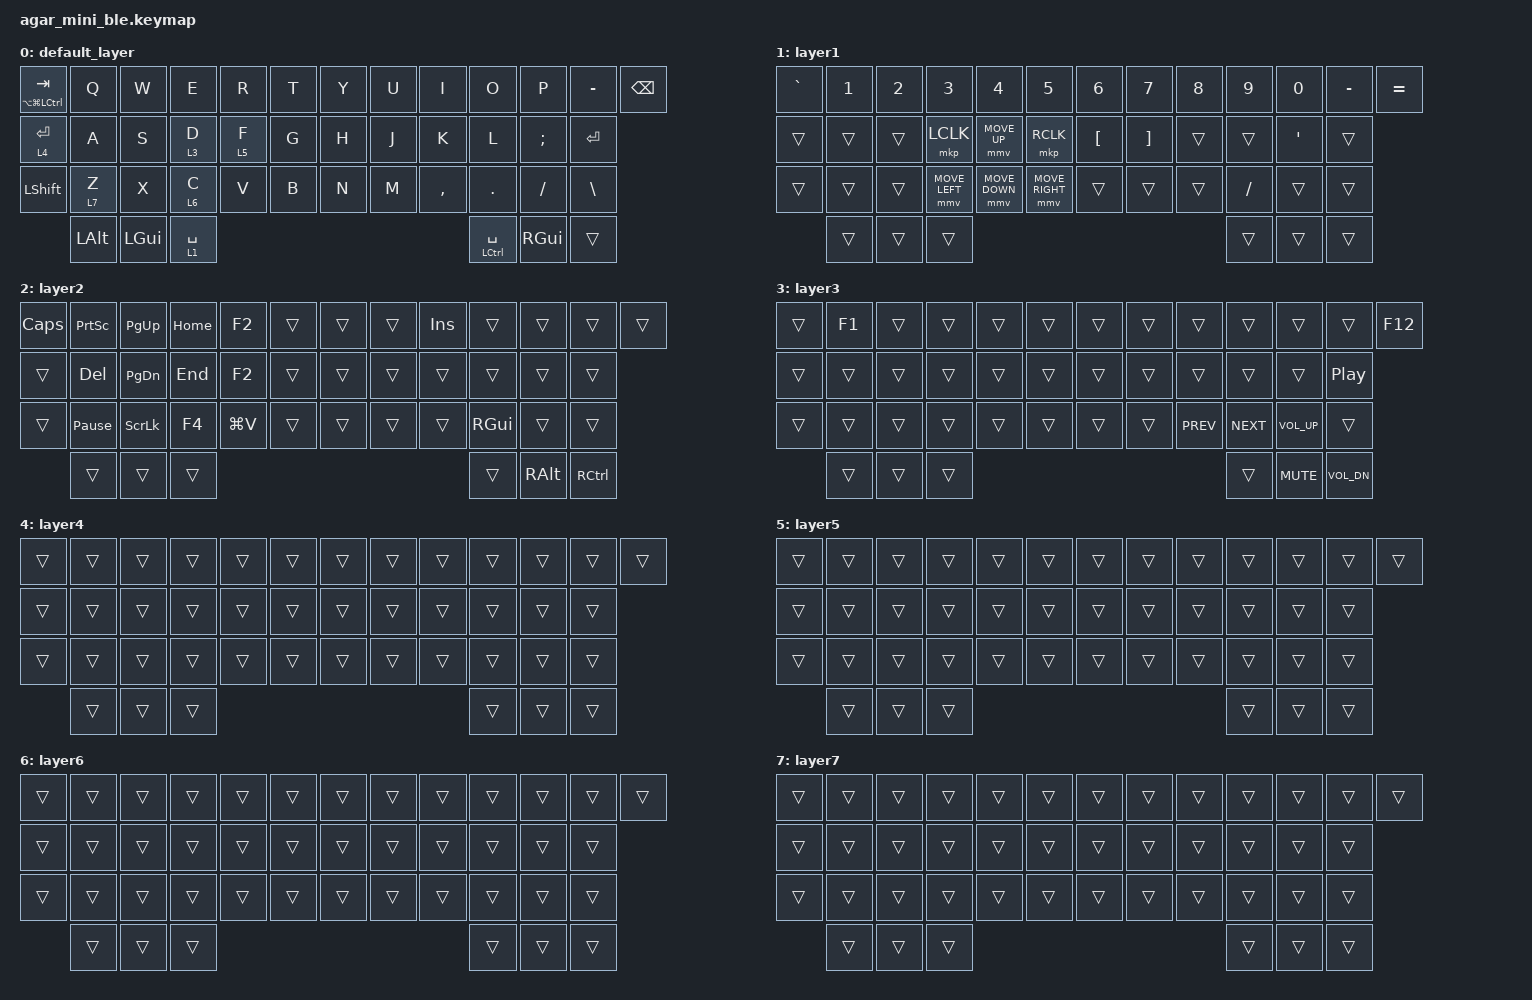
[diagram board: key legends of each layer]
/*
 * Copyright (c) 2021 The ZMK Contributors
 *
 * SPDX-License-Identifier: MIT
 */

#include "./boards/shields/klink_kbd/common.keymap"
#include <behaviors.dtsi>
#include <dt-bindings/zmk/keys.h>
#include <dt-bindings/zmk/pointing.h>

/ {
    keymap {
        compatible = "zmk,keymap";

        // ponytail: Base transcribed from user's live ZMK Studio layout (video backup 2026-06-29).
        // Only this layer is verified-from-video; layers 1-7 below are still the upstream defaults.
        default_layer {
            bindings = <
&mt LA(LG(LCTRL)) TAB  &kp Q    &kp W  &kp E    &kp R    &kp T  &kp Y  &kp U  &kp I      &kp O    &kp P             &kp MINUS  &kp BSPC
&lt 4 RET              &kp A    &kp S  &lt 3 D  &lt 5 F  &kp G  &kp H  &kp J  &kp K      &kp L    &kp SEMI          &kp RET
&kp LSHFT              &lt 7 Z  &kp X  &lt 6 C  &kp V    &kp B  &kp N  &kp M  &kp COMMA  &kp DOT  &kp SLASH         &kp BACKSLASH
                       &kp LALT  &kp LGUI       &lt 1 SPACE     &mt LCTRL SPACE                  &kp RGUI          &trans
            >;
        };

        layer1 {
            bindings = <
&kp GRAVE  &kp N1  &kp N2  &kp N3          &kp N4          &kp N5           &kp N6            &kp N7             &kp N8  &kp N9     &kp N0            &kp MINUS  &kp EQUAL
&trans     &trans  &trans  &mkp LCLK       &mmv MOVE_UP    &mkp RCLK        &kp LEFT_BRACKET  &kp RIGHT_BRACKET  &trans  &trans     &kp SINGLE_QUOTE  &trans
&trans     &trans  &trans  &mmv MOVE_LEFT  &mmv MOVE_DOWN  &mmv MOVE_RIGHT  &trans            &trans             &trans  &kp SLASH  &trans            &trans
           &trans  &trans                  &trans                           &trans                                       &trans     &trans
            >;
        };

        layer2 {
            bindings = <
&kp CAPSLOCK  &kp PRINTSCREEN  &kp PAGE_UP     &kp HOME  &kp F2     &trans  &trans  &trans  &kp INSERT  &trans    &trans     &trans  &trans
&trans        &kp DELETE       &kp PAGE_DOWN   &kp END   &kp F2     &trans  &trans  &trans  &trans      &trans    &trans     &trans
&trans        &kp PAUSE_BREAK  &kp SCROLLLOCK  &kp F4    &kp LG(V)  &trans  &trans  &trans  &trans      &kp RGUI  &trans     &trans
              &trans           &trans                    &trans             &trans                      &kp RALT  &kp RCTRL
            >;
        };

        layer3 {
            bindings = <
&trans  &kp F1  &trans  &trans  &trans  &trans  &trans  &trans  &trans      &trans      &trans        &trans            &kp F12
&trans  &trans  &trans  &trans  &trans  &trans  &trans  &trans  &trans      &trans      &trans        &kp C_PLAY_PAUSE
&trans  &trans  &trans  &trans  &trans  &trans  &trans  &trans  &kp C_PREV  &kp C_NEXT  &kp C_VOL_UP  &trans
        &trans  &trans          &trans          &trans                      &kp C_MUTE  &kp C_VOL_DN
            >;
        };

        layer4 {
            bindings = <
&trans  &trans  &trans  &trans  &trans  &trans  &trans  &trans  &trans  &trans  &trans  &trans  &trans
&trans  &trans  &trans  &trans  &trans  &trans  &trans  &trans  &trans  &trans  &trans  &trans
&trans  &trans  &trans  &trans  &trans  &trans  &trans  &trans  &trans  &trans  &trans  &trans
        &trans  &trans          &trans          &trans                  &trans  &trans
            >;
        };

        layer5 {
            bindings = <
&trans  &trans  &trans  &trans  &trans  &trans  &trans  &trans  &trans  &trans  &trans  &trans  &trans
&trans  &trans  &trans  &trans  &trans  &trans  &trans  &trans  &trans  &trans  &trans  &trans
&trans  &trans  &trans  &trans  &trans  &trans  &trans  &trans  &trans  &trans  &trans  &trans
        &trans  &trans          &trans          &trans                  &trans  &trans
            >;
        };

        layer6 {
            bindings = <
&trans  &trans  &trans  &trans  &trans  &trans  &trans  &trans  &trans  &trans  &trans  &trans  &trans
&trans  &trans  &trans  &trans  &trans  &trans  &trans  &trans  &trans  &trans  &trans  &trans
&trans  &trans  &trans  &trans  &trans  &trans  &trans  &trans  &trans  &trans  &trans  &trans
        &trans  &trans          &trans          &trans                  &trans  &trans
            >;
        };

        layer7 {
            bindings = <
&trans  &trans  &trans  &trans  &trans  &trans  &trans  &trans  &trans  &trans  &trans  &trans  &trans
&trans  &trans  &trans  &trans  &trans  &trans  &trans  &trans  &trans  &trans  &trans  &trans
&trans  &trans  &trans  &trans  &trans  &trans  &trans  &trans  &trans  &trans  &trans  &trans
        &trans  &trans          &trans          &trans                  &trans  &trans
            >;
        };
    };

    // ponytail: macros for multi-character combo output.
    macros {
        macro_bullet: macro_bullet {
            compatible = "zmk,behavior-macro";
            #binding-cells = <0>;
            bindings = <&kp MINUS &kp SPACE>;          // "- "
        };
        macro_todo: macro_todo {
            compatible = "zmk,behavior-macro";
            #binding-cells = <0>;
            bindings = <&kp LBKT &kp RBKT &kp SPACE>;  // "[] "
        };
    };

    // ponytail: user-added combos. Merges with the combos node in common.keymap.
    // All carry require-prior-idle-ms 120 + tight timeout to avoid mid-typing misfires.
    combos {
        compatible = "zmk,combos";

        // editing
        combo_del      { timeout-ms = <45>; require-prior-idle-ms = <120>; key-positions = <1 2>;   bindings = <&kp DELETE>; };    // Q+W -> Delete
        combo_bspc     { timeout-ms = <45>; require-prior-idle-ms = <120>; key-positions = <2 3>;   bindings = <&kp BSPC>; };      // W+E -> Backspace
        combo_question { timeout-ms = <45>; require-prior-idle-ms = <120>; key-positions = <15 16>; bindings = <&kp QUESTION>; };  // S+D -> ?

        // notes formatting
        combo_bullet   { timeout-ms = <45>; require-prior-idle-ms = <120>; key-positions = <26 27>; bindings = <&macro_bullet>; }; // Z+X -> "- "
        combo_todo     { timeout-ms = <45>; require-prior-idle-ms = <120>; key-positions = <27 28>; bindings = <&macro_todo>; };   // X+C -> "[] "

        // navigation / symbols
        combo_esc      { timeout-ms = <45>; require-prior-idle-ms = <120>; key-positions = <0 1>;   bindings = <&kp ESC>; };       // TAB+Q -> Esc
        combo_home     { timeout-ms = <45>; require-prior-idle-ms = <120>; key-positions = <2 15>;  bindings = <&kp HOME>; };      // W+S -> Home
        combo_end      { timeout-ms = <45>; require-prior-idle-ms = <120>; key-positions = <15 27>; bindings = <&kp END>; };       // S+X -> End
        combo_copy     { timeout-ms = <45>; require-prior-idle-ms = <120>; key-positions = <28 29>; bindings = <&kp LC(C)>; };     // C+V -> Ctrl+C
        combo_lpar     { timeout-ms = <45>; require-prior-idle-ms = <120>; key-positions = <1 3>;   bindings = <&kp LPAR>; };      // Q+E -> (
        combo_rpar     { timeout-ms = <45>; require-prior-idle-ms = <120>; key-positions = <2 4>;   bindings = <&kp RPAR>; };      // W+R -> )
        combo_equal    { timeout-ms = <45>; require-prior-idle-ms = <120>; key-positions = <1 4>;   bindings = <&kp EQUAL>; };     // Q+R -> =

        combo_shift_enter { timeout-ms = <45>; require-prior-idle-ms = <120>; key-positions = <13 14>; bindings = <&kp LS(RET)>; }; // Enter/CAPS key + A -> Shift+Enter
    };
};
